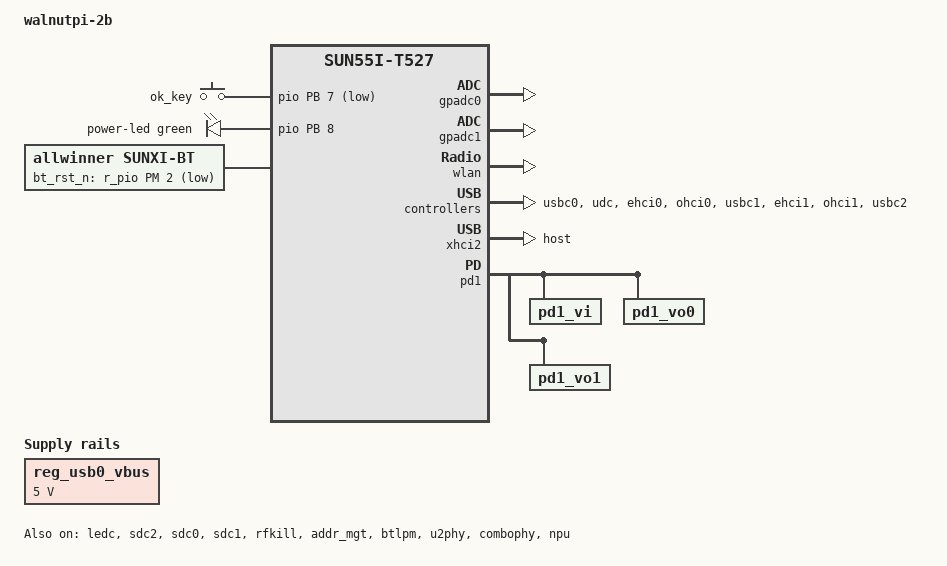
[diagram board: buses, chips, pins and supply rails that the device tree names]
/*
 * Allwinner Technology CO., Ltd.
 */

/dts-v1/;

#include "sun55i-t527.dtsi"
#include "sun55i-t527-walnutpi-2b-audio.dtsi"
#include "sun55i-t527-walnutpi-2b-ir.dtsi"
#include "sun55i-t527-walnutpi-2b-uart.dtsi"
#include "sun55i-t527-walnutpi-2b-twi.dtsi"
#include "sun55i-t527-walnutpi-2b-spi.dtsi"
#include "sun55i-t527-walnutpi-2b-pwm.dtsi"
#include "sun55i-t527-walnutpi-2b-gmac.dtsi"
#include "sun55i-t527-walnutpi-2b-video.dtsi"
#include "sun55i-t527-walnutpi-2b-disp.dtsi"
#include "sun55i-t527-walnutpi-2b-thermal.dtsi"
#include <dt-bindings/leds/common.h>
/{
	model = "walnutpi-2b";
	board = "T527";
	compatible = "allwinner,t527", "arm,sun55iw3p1";

	aliases {
		pmu0 = &pmu0;
		serial0 = &uart0;
		hdmi = &hdmi;
		reg-axp1530 = &reg_ext_axp1530_dcdc1;
		axp1530 = &axp1530;
		cpu-ext = &cpu4;
		standby-param = &standby_param;
		arisc-config = &arisc_config;
		cir_param = &cir_param;
		spi1 = &spi1;
		spi3 = &r_spi0;
	};

	reg_usb0_vbus: usb0-vbus {
		compatible = "regulator-fixed";
		regulator-name = "usb0-vbus";
		regulator-min-microvolt = <5000000>;
		regulator-max-microvolt = <5000000>;
		regulator-enable-ramp-delay = <1000>;
		// gpio = <&pio PI 12 GPIO_ACTIVE_HIGH>;
		enable-active-high;
	};

	standby_param: standby_param {
		vdd-cpu = <0x00000001>;
		vdd-cpub = <0x00000001>;
		vdd-sys = <0x00000002>;
		vcc-pll = <0x00000080>;
		vcc-io  = <0x00004000>;

		osc24m-on = <0x0>;
	};

	arisc_config: arisc_config {
		s_uart_config {
			pins = "PL2", "PL3";
			function = <2>, <2>;
			status = "disabled";
		};
	};

	reserved-memory {
		dsp0ddr_reserved: dsp0ddr@4a000000 {
			reg = <0x0 0x4a000000 0x0 0x00a00000>;
			no-map;
		};

		riscvsram0_reserved: riscvsram0@7280000 {
			reg = <0x0 0x07280000 0x0 0x40000>;
			no-map;
		};

		riscvsram1_reserved: riscvsram1@72c0000 {
			reg = <0x0 0x072c0000 0x0 0x40000>;
			no-map;
		};

		/*
		* The name should be "vdev%dbuffer".
		* Its size should be not less than
		*     RPMSG_BUF_SIZE * (num of buffers in a vring) * 2
		*   = 512 * (num of buffers in a vring) * 2
		*/
		dsp_vdev0buffer: vdev0buffer@4ac00000 {
			compatible = "shared-dma-pool";
			reg = <0x0 0x4ac00000 0x0 0x40000>;
			no-map;
		};

		/*
		* The name should be "vdev%dvring%d".
		* The size of each should be not less than
		*     PAGE_ALIGN(vring_size(num, align))
		*   = PAGE_ALIGN(16 * num + 6 + 2 * num + (pads for align) + 6 + 8 * num)
		*
		* (Please refer to the vring layout in include/uapi/linux/virtio_ring.h)
		*/
		dsp_vdev0vring0: vdev0vring0@4ac40000 {
			reg = <0x0 0x4ac40000 0x0 0x2000>;
			no-map;
		};
		dsp_vdev0vring1: vdev0vring1@4ac42000 {
			reg = <0x0 0x4ac42000 0x0 0x2000>;
			no-map;
		};

		/*
		 * The name should be "vdev%dbuffer".
		 * Its size should be not less than
		 *     RPMSG_BUF_SIZE * (num of buffers in a vring) * 2
		 *   = 512 * (num of buffers in a vring) * 2
		 */
		rv_vdev0buffer: vdev0buffer@4ae00000 {
			compatible = "shared-dma-pool";
			reg = <0x0 0x4ae00000 0x0 0x40000>;
			no-map;
		};

		/*
		 * The name should be "vdev%dvring%d".
		 * The size of each should be not less than
		 *     PAGE_ALIGN(vring_size(num, align))
		 *   = PAGE_ALIGN(16 * num + 6 + 2 * num + (pads for align) + 6 + 8 * num)
		 *
		 * (Please refer to the vring layout in include/uapi/linux/virtio_ring.h)
		 */
		rv_vdev0vring0: vdev0vring0@4ae40000 {
			reg = <0x0 0x4ae40000 0x0 0x2000>;
			no-map;
		};
		rv_vdev0vring1: vdev0vring1@4ae42000 {
			reg = <0x0 0x4ae42000 0x0 0x2000>;
			no-map;
		};

		/*
		* mcu ram addr
		*/
		mcu0iram_reserved: mcu0iram@20000 {
			reg = <0x0 0x20000 0x0 0x10000>;
			no-map;
		};
		mcu0dram0_reserved: mcu0dram0@30000 {
			reg = <0x0 0x30000 0x0 0x8000>;
			no-map;
		};
		mcu0dram1_reserved: mcu0dram1@38000 {
			reg = <0x0 0x38000 0x0 0x8000>;
			no-map;
		};

		dsp0_rpbuf_reserved: dsp0_rpbuf@4ae44000 {
			compatible = "shared-dma-pool";
			no-map;
			reg = <0x0 0x4ae44000 0x0 0x8000>;
		};

		dsp_share_space@4ab00000 {
			no-map;
			reg = <0x0 0x4ab00000 0x0 0x10000>;
		};
	};

	rpbuf_controller0: rpbuf_controller@0 {
		compatible = "allwinner,rpbuf-controller";
		remoteproc = <&dsp0_rproc>;
		ctrl_id = <0>;
		memory-region = <&dsp0_rpbuf_reserved>;
		status = "okay";
	};
	user-keys {
		device_type = "gpiokey";
		compatible = "gpio-keys-polled";
		poll-interval = <100>;
		user-button {

			label = "ok_key";
			gpios = <&pio PB 7  GPIO_ACTIVE_LOW>;
			linux,input-type = "1>";
			linux,code = <0x00>;
			debounce-interval = <10>; // 消抖时间，单位为ms
			bias-pull-up; // 设置为上拉

		};
	};

};


&pio {
	vcc-pg-supply = <&reg_pio1_8>;
	vcc-pf-supply = <&reg_pio1_8>;
	vcc-pfo-supply = <&reg_pio3_3>;
	vcc-pd-supply = <&reg_dcdc4>;
	vcc-pe-supply = <&reg_dcdc4>;
	vcc-pi-supply = <&reg_dcdc4>;
	vcc-pj-supply = <&reg_dcdc4>;
	vcc-pk-supply = <&reg_dcdc4>;


	ledc_pins_a: ledc@0 {
		pins = "PH19";
		function = "ledc";
		drive-strength = <10>;
	};

	ledc_pins_b: ledc@1 {
		pins = "PH19";
		function = "gpio_in";
	};


	owa_pins_a: owa@0 {
		pins = "PI10";
		function = "owa";
		drive-strength = <20>;
		bias-disable;
	};

	owa_pins_b: owa@1 {
		pins = "PI10";
		function = "io_disabled";
		drive-strength = <20>;
		bias-disable;
	};



	nand0_pins_default: nand0@0 {
		pins = "PC0", "PC1", "PC2", "PC5",
			 "PC8", "PC9", "PC10", "PC11",
			 "PC12", "PC13", "PC14", "PC15",
			 "PC16";
		function = "nand0";
		drive-strength = <30>;
	};

	nand0_pins_rb: nand0@1 {
		pins = "PC4", "PC6", "PC3", "PC7";
		function = "nand0";
		drive-strength = <30>;
		bias-pull-up;   /* only RB&CE should be pulled up */
	};

	nand0_pins_sleep: nand0@2 {
		pins = "PC0", "PC1", "PC2", "PC3",
			 "PC4", "PC5", "PC6", "PC7",
			 "PC8", "PC9", "PC10", "PC11",
			 "PC12", "PC13", "PC14", "PC15",
			 "PC16";
		function = "io_disabled";
		drive-strength = <10>;
	};


};

&soc {
	auto_print@54321 {
		reg = <0x0 0x54321 0x0 0x0>;
		device_type = "auto_print";
		status = "okay";
	};

	dsp0_rproc: dsp0_rproc@0 {
		mboxes = <&msgbox 4>;
		mbox-names = "arm-kick";
		memory-region = <&dsp0ddr_reserved>, <&dsp_vdev0buffer>, <&dsp_vdev0vring0>, <&dsp_vdev0vring1>,
				<&mcu0iram_reserved>, <&mcu0dram0_reserved>, <&mcu0dram1_reserved>;
		memory-mappings =
			/* < DA         len             PA >    */
			/* local SRAM via external bus */
			< 0x20000       0x20000         0x20000 >,
			/* local SRAM via internal bus */
			< 0x400000      0x10000         0x20000 >,
			< 0x420000      0x8000          0x30000 >,
			< 0x440000      0x8000          0x38000 >,
			/* DDR front 256MB */
			< 0x10000000    0x10000000      0x40000000 >,
			/* local SRAM via internal bus */
			< 0x20020000    0x10000         0x400000 >,
			< 0x20030000    0x8000          0x420000 >,
			< 0x20038000    0x8000          0x440000 >,

			/* DDR front 256MB */
			< 0x30000000    0x10000000      0x40000000 >,
			/* DDR front 1GB */
			< 0x40000000    0x40000000      0x40000000 >,
			/* DDR front 1GB */
			< 0x80000000    0x40000000      0x40000000 >,
			/* DDR front 1GB */
			< 0xC0000000    0x40000000      0x40000000 >;
		status = "okay";
	};

	e906_rproc: e906_rproc@7130000 {
		mboxes = <&msgbox 8>;
		mbox-names = "arm-kick";
		memory-region = <&riscvsram0_reserved>, <&riscvsram1_reserved>, <&rv_vdev0buffer>, <&rv_vdev0vring0>, <&rv_vdev0vring1>;
		memory-mappings =
			/* < DA		len		PA >	*/
			/* DSP RAM */
			< 0x20000	0x20000		0x20000 >,
			/* SRAM A2 */
			< 0x40000	0x24000		0x40000 >,
			/* DDR */
			< 0x8000000	0x37f00000	0x8000000 >,
			/* SRAM SPACE 0 */
			< 0x3ffc0000	0x40000		0x07280000 >,
			/* SRAM SPACE 1 */
			< 0x40000000	0x40000		0x072c0000 >,
			/* DRAM SPACE */
			< 0x40040000	0x3ffc0000	0x40040000>;
		status = "okay";
	};

};

&lradc {
	key_cnt = <5>;
	key0 = <210 0x73>;
	key1 = <410 0x72>;
	key2 = <590 0x8B>;
	key3 = <750 0x1c>;
	key4 = <880 0x66>;
	key_debounce;
	debounce_value = <50>;
	status = "disabled";
};


&gpadc0 {
	channel_num = <12>;
	gpadc_sample_rate = <1000>; //1k采样率
	channel_select = <0xfff>;
	channel_data_select = <0>;
	channel_compare_select = <0>;
	channel_cld_select = <0>;
	channel_chd_select = <0>;
	channel0_compare_lowdata = <1700000>;
	channel0_compare_higdata = <1200000>;
	channel1_compare_lowdata = <460000>;
	channel1_compare_higdata = <1200000>;
	status = "okay";
};

&gpadc1 {
	channel_num = <12>;
	gpadc_sample_rate = <1000>; //1k采样率
	channel_select = <0xfff>;
	channel_data_select = <0>;
	channel_compare_select = <0>;
	channel_cld_select = <0>;
	channel_chd_select = <0>;
	channel0_compare_lowdata = <1700000>;
	channel0_compare_higdata = <1200000>;
	channel1_compare_lowdata = <460000>;
	channel1_compare_higdata = <1200000>;
	status = "okay";
};

&ledc  {
	pinctrl-names = "default", "sleep";
	pinctrl-0 = <&ledc_pins_a>;
	pinctrl-1 = <&ledc_pins_b>;
	led_count = <4>;
	output_mode = "GRB";
	reset_ns = <84>;
	t1h_ns = <800>;
	t1l_ns = <320>;
	t0h_ns = <300>;
	t0l_ns = <800>;
	wait_time0_ns = <84>;
	wait_time1_ns = <84>;
	wait_data_time_ns = <600000>;
	status = "okay";
};


/{
	axp2202_parameter:axp2202-parameter {
		select = "battery-model";

		battery-model {
			parameter = /bits/ 8 <0x01 0xf5 0x40 0x00 0x1b 0x1e 0x28 0x0f
				0x0c 0x1e 0x32 0x02 0x14 0x05 0x0a 0x04
				0x74 0xfb 0xc8 0x0d 0x43 0x10 0x36 0xfb
				0x46 0x01 0xea 0x0d 0x2a 0x06 0x36 0x05
				0xf4 0x0a 0xb5 0x0f 0x42 0x0e 0xe6 0x09
				0x9a 0x0e 0x42 0x0e 0x3b 0x04 0x2d 0x04
				0x23 0x09 0x18 0x0e 0x09 0x0e 0x04 0x08
				0xf7 0x0d 0xda 0x0d 0xd0 0x03 0xbb 0x03
				0x9d 0x08 0x7f 0x0d 0x6a 0x0d 0x55 0x07
				0xc2 0x57 0x2b 0x27 0x1e 0x0d 0x14 0x08
				0xc5 0x98 0x7e 0x66 0x4e 0x44 0x38 0x1a
				0x12 0x0a 0xf6 0x00 0x00 0xf6 0x00 0xf6
				0x00 0xfb 0x00 0x00 0xfb 0x00 0x00 0xfb
				0x00 0x00 0xf6 0x00 0x00 0xf6 0x00 0xf6
				0x00 0xfb 0x00 0x00 0xfb 0x00 0x00 0xfb
				0x00 0x00 0xf6 0x00 0x00 0xf6 0x00 0xf6>;
		};
	};
};


&sdc2 {
	non-removable;
	bus-width = <8>;
	mmc-ddr-1_8v;
	mmc-hs200-1_8v;
	mmc-hs400-1_8v;
	no-sdio;
	no-sd;
	ctl-spec-caps = <0x308>;
	cap-mmc-highspeed;
	sunxi-power-save-mode;
	sunxi-dis-signal-vol-sw;
	mmc-bootpart-noacc;
	/*cap-hsq;*/
	cqe-on;
	ctl-cmdq-md = <0x2>;
	max-frequency = <150000000>;
	vmmc-supply = <&reg_cldo3>;
	/*emmc io vol 3.3v*/
	/*vqmmc-supply = <&reg_aldo1>;*/
	/*emmc io vol 1.8v*/
	vqmmc-supply = <&reg_cldo1>;
	status = "okay";
};

&sdc0 {
	bus-width = <4>;
	cd-gpios = <&pio PF 6 (GPIO_ACTIVE_LOW | GPIO_PULL_UP)>;
	/*non-removable;*/
	/*broken-cd;*/
	/*cd-inverted;*/
	/*data3-detect;*/
	/*card-pwr-gpios = <&pio PH 14 1 1 2 0xffffffff>;*/
	cd-set-debounce = <0x1>;
	cd-used-24M;
	cap-sd-highspeed;
	sd-uhs-sdr50;
	sd-uhs-ddr50;
	sd-uhs-sdr104;
	no-sdio;
	no-mmc;
	sunxi-power-save-mode;
	/*sunxi-dis-signal-vol-sw;*/
	max-frequency = <150000000>;
	ctl-spec-caps = <0x408>;
	sunxi-dly-208M  = <0xff 1 0xff 0xff 0xff 0xff>;
	/*vmmc-supply = <&reg_cldo3>;*/
	/*vqmmc33sw-supply = <&reg_cldo3>;*/
	/*vdmmc33sw-supply = <&reg_cldo3>;*/
	/*vqmmc18sw-supply = <&reg_bldo1>;*/
	/*vdmmc18sw-supply = <&reg_bldo1>;*/
	status = "okay";
};

&sdc1 {
	bus-width = <4>;
	no-mmc;
	no-sd;
	cap-sd-highspeed;
	/*sd-uhs-sdr12*/
	sd-uhs-sdr25;
	sd-uhs-sdr50;
	sd-uhs-ddr50;
	sd-uhs-sdr104;
	/*sunxi-power-save-mode;*/
	sunxi-dis-signal-vol-sw;
	cap-sdio-irq;
	keep-power-in-suspend;
	ignore-pm-notify;
	max-frequency = <150000000>;
	ctl-spec-caps = <0x408>;
	status = "okay";
};

&nand0 {
	compatible = "allwinner,sun55iw3-nand";
	device_type = "nand0";
	//reg = <0x0 0x04011000 0x0 0x1000>;/* nand0 */
	pinctrl-names = "default", "sleep";
	pinctrl-0 = <&nand0_pins_default &nand0_pins_rb>;
	pinctrl-1 = <&nand0_pins_sleep>;
	nand0_regulator1 = "vcc-nand";
	nand0_regulator2 = "none";
	nand0_cache_level = <0x55aaaa55>;
	nand0_flush_cache_num = <0x55aaaa55>;
	nand0_capacity_level = <0x55aaaa55>;
	nand0_id_number_ctl = <0x55aaaa55>;
	nand0_print_level = <0x55aaaa55>;
	nand0_p0 = <0x55aaaa55>;
	nand0_p1 = <0x55aaaa55>;
	nand0_p2 = <0x55aaaa55>;
	nand0_p3 = <0x55aaaa55>;
	chip_code = "sun55iw3";
	status = "disabled";
};

&rfkill {
	compatible = "allwinner,sunxi-rfkill";
	chip_en;
	power_en;
	pinctrl-0;
	pinctrl-names;
	status = "okay";

	/* wlan session */
	wlan {
		compatible    = "allwinner,sunxi-wlan";
		clocks        = <&rtc_ccu CLK_OSC32K_OUT>;
		clock-names   = "osc32k-out";
		wlan_power    = "axp2202-aldo3", "axp2202-bldo1"; /* vcc-pl/vcc-pg/vcc-pm */
		wlan_power_vol= <3300000>, <1800000>;
		wlan_busnum   = <0x1>;
		wlan_regon    = <&r_pio PM 1 GPIO_ACTIVE_HIGH>;
		wlan_hostwake = <&r_pio PM 0 GPIO_ACTIVE_HIGH>;
		wakeup-source;
	};

	/* bt session */
	bt {
		compatible    = "allwinner,sunxi-bt";
		clocks        = <&rtc_ccu CLK_OSC32K_OUT>;
		clock-names   = "osc32k-out";
		wlan_power    = "axp2202-aldo3", "axp2202-bldo1"; /* vcc-pl/vcc-pg/vcc-pm */
		wlan_power_vol= <3300000>, <1800000>;
		bt_rst_n      = <&r_pio PM 2 GPIO_ACTIVE_LOW>;
	};
};

&addr_mgt {
	compatible     = "allwinner,sunxi-addr_mgt";
	type_addr_wifi = <0x0>;
	type_addr_bt   = <0x0>;
	type_addr_eth  = <0x0>;
	status         = "okay";
};

&btlpm {
	compatible  = "allwinner,sunxi-btlpm";
	uart_index  = <0x1>;
	bt_wake     = <&r_pio PM 3 GPIO_ACTIVE_HIGH>;
	bt_hostwake = <&r_pio PM 4 GPIO_ACTIVE_HIGH>;
	wakeup-source;
	status      = "okay";
};

/*
 *usb_port_type: usb mode. 0-device, 1-host, 2-otg.
 *usb_detect_type: usb hotplug detect mode. 0-none, 1-vbus/id detect, 2-id/dpdm detect.
 *usb_detect_mode: 0-thread scan, 1-id gpio interrupt.
 *usb_id_gpio: gpio for id detect.
 *usb_det_vbus_gpio: gpio for id detect. gpio or "axp_ctrl";
 *usb_wakeup_suspend：0-SUPER_STANDBY, 1-USB_STANDBY.
 */
&usbc0 {
	device_type = "usbc0";
	usb_port_type = <0x2>;
	usb_detect_type = <0x1>;
	usb_detect_mode = <0x0>;
	usb_id_gpio = <>;
	// usb_det_vbus_gpio = <&pio PI 13 GPIO_ACTIVE_HIGH>;
	enable-active-high;
	detvbus_io-supply = <&reg_bldo1>;
	usb_regulator_io = "nocare";
	usb_wakeup_suspend = <0>;
	usb_luns = <3>;
	usb_serial_unique = <0>;
	usb_serial_number = "20080411";
	rndis_wceis = <1>;
	status = "okay";
};

&udc {
	det_vbus_supply = <&usb_power_supply>;
	phy_range = <0x153>;
	status = "okay";
};

&ehci0 {
	drvvbus-supply = <&reg_usb0_vbus>;
	phy_range = <0x153>;
	status = "okay";
};

&ohci0 {
	drvvbus-supply = <&reg_usb0_vbus>;
	phy_range = <0x153>;
	status = "okay";
};

&usbc1 {
	device_type = "usbc1";
	usb_regulator_io = "nocare";
	usb_wakeup_suspend = <0>;
	status = "okay";
};

&ehci1 {
	phy_range = <0x153>;
	status = "okay";
};

&ohci1 {
	phy_range = <0x153>;
	status = "okay";
};

&usbc2 {
	device_type = "usbc2";
	status = "okay";
};
&xhci2 {
	dr_mode = "host";
	status = "okay";
};
&u2phy {
	status = "okay";
};

&combophy {
	resets = <&ccu RST_BUS_PCIE_USB3>;
	phy_use_sel = <1>; /* 0:PCIE; 1:USB3 */
	status = "okay";
};
&pcie {
	pcie3v3-supply = <&reg_bldo1>;
	pcie1v8-supply = <&reg_cldo1>;
};


/{
	leds: leds@0 {
		compatible = "gpio-leds";
		status = "okay";
		power-led {
			function = LED_FUNCTION_STATUS;
			color = <LED_COLOR_ID_GREEN>;
			gpios = <&pio PB 8 GPIO_ACTIVE_HIGH>; 
			default-state = "on";
		};
	};
};

&gpu {
	gpu_idle = <1>;
	dvfs_status = <1>;
	mali-supply = <&reg_dcdc2>;
};

&ve {
	ve-supply = <&reg_dcdc2>;

	enable_setup_ve_freq       = <0>;   /* default disable */
	ve_freq_value              = <624>; /* setup to 624MHz */
};

&cpu0 {
	cpu-supply = <&reg_dcdc1>;
};

&dsufreq {
	dsu-supply = <&reg_dcdc1>;
};


&npu {
	npu-supply = <&reg_ext_axp1530_dcdc3>;
	status = "okay";
};

&pd1 {
	/* pk */
	pd1_vi@A523_PCK_VI {
		ppu-always-on;
	};

	/* pd */
	pd1_vo0@A523_PCK_VO0 {
		ppu-always-on;
	};

	/* pj */
	pd1_vo1@A523_PCK_VO1 {
		ppu-always-on;
	};
};
